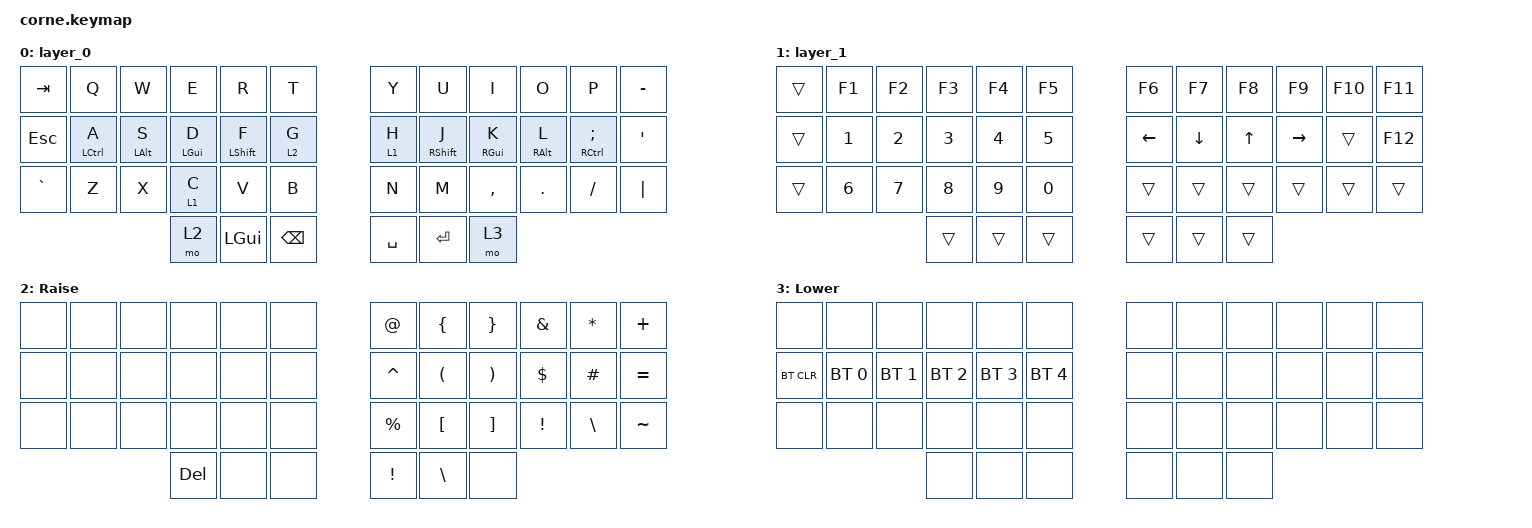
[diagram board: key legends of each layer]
/*
 * Copyright (c) 2020 The ZMK Contributors
 *
 * SPDX-License-Identifier: MIT
 */

#include <behaviors.dtsi>
#include <dt-bindings/zmk/bt.h>
#include <dt-bindings/zmk/keys.h>

/ {
    behaviors {
        HML: HML {
            compatible = "zmk,behavior-hold-tap";
            #binding-cells = <2>;
            flavor = "tap-preferred";
            tapping-term-ms = <200>;
            quick-tap-ms = <175>;
            bindings = <&kp>, <&kp>;

            hold-trigger-key-positions = <36 37 38 39 40 41 30 32 31 18 6 7 8 9 10 11 23 22 21 20 19 33 34 35>;
            hold-trigger-on-release;
        };

        HMR: HMR {
            compatible = "zmk,behavior-hold-tap";
            #binding-cells = <2>;
            flavor = "tap-preferred";
            tapping-term-ms = <200>;
            quick-tap-ms = <175>;
            bindings = <&kp>, <&kp>;

            hold-trigger-key-positions = <36 37 38 39 40 41 24 12 0 1 2 3 5 4 17 16 15 14 13 25 26 27 28 29>;
            hold-trigger-on-release;
        };
    };

    combos {
        compatible = "zmk,combos";

        combo_enter {
            bindings = <&kp ENTER>;
            key-positions = <38 39>;
        };

        combo_tab2 {
            bindings = <&kp TAB>;
            key-positions = <27 28>;
        };

        combo_escape {
            bindings = <&kp ESCAPE>;
            key-positions = <26 27>;
        };

        combo_tab4 {
            bindings = <&kp TAB>;
            key-positions = <33 32>;
        };

        combo_enter2 {
            bindings = <&kp ENTER>;
            key-positions = <28 26>;
        };

        combo_enter3 {
            bindings = <&kp ENTER>;
            key-positions = <7 8 9>;
        };

        combo_minus {
            bindings = <&kp MINUS>;
            key-positions = <39 10>;
        };

        combo_equals {
            bindings = <&kp EQUAL>;
            key-positions = <39 21>;
        };

        combo_tilde {
            bindings = <&kp TILDE>;
            key-positions = <34 39>;
        };

        combo_hash_tag {
            bindings = <&kp HASH>;
            key-positions = <39 18>;
        };

        combo_quote {
            bindings = <&kp SINGLE_QUOTE>;
            key-positions = <39 22>;
        };
    };

    keymap {
        compatible = "zmk,keymap";

        default_layer {
            // -----------------------------------------------------------------------------------------
            // |  TAB |  Q  |  W  |  E  |  R  |  T  |   |  Y  |  U   |  I  |  O  |  P  | BKSP |
            // | CTRL |  A  |  S  |  D  |  F  |  G  |   |  H  |  J   |  K  |  L  |  ;  |  '   |
            // | SHFT |  Z  |  X  |  C  |  V  |  B  |   |  N  |  M   |  ,  |  .  |  /  | ESC  |
            //                    | GUI | LWR | SPC |   | ENT | RSE  | ALT |

            display-name = "layer_0";
            bindings = <
&kp TAB     &kp Q                &kp W            &kp E            &kp R              &kp T            &kp Y      &kp U               &kp I             &kp O             &kp P                    &kp MINUS
&kp ESCAPE  &HML LEFT_CONTROL A  &HML LEFT_ALT S  &HML LEFT_GUI D  &HML LEFT_SHIFT F  &lt 2 G          &lt 1 H    &HMR RIGHT_SHIFT J  &HMR RIGHT_GUI K  &HMR RIGHT_ALT L  &HMR RIGHT_CONTROL SEMI  &kp SQT
&kp GRAVE   &kp Z                &kp X            &lt 1 C          &kp V              &kp B            &kp N      &kp M               &kp COMMA         &kp DOT           &kp FSLH                 &kp PIPE
                                                  &mo 2            &kp LEFT_GUI       &kp BACKSPACE    &kp SPACE  &kp ENTER           &mo 3
            >;
        };

        layer_1 {
            bindings = <
&trans  &kp F1        &kp F2        &kp F3        &kp F4        &kp F5          &kp F6    &kp F7    &kp F8  &kp F9     &kp F10  &kp F11
&trans  &kp NUMBER_1  &kp NUMBER_2  &kp NUMBER_3  &kp NUMBER_4  &kp NUMBER_5    &kp LEFT  &kp DOWN  &kp UP  &kp RIGHT  &trans   &kp F12
&trans  &kp NUMBER_6  &kp NUMBER_7  &kp NUMBER_8  &kp NUMBER_9  &kp NUMBER_0    &trans    &trans    &trans  &trans     &trans   &trans
                                    &trans        &trans        &trans          &trans    &trans    &trans
            >;
        };

        layer_2 {
            // -----------------------------------------------------------------------------------------
            // |  TAB |  !  |  @  |  #  |  $  |  %  |   |  ^  |  &  |  *  |  (  |  )  | BKSP |
            // | CTRL |     |     |     |     |     |   |  -  |  =  |  [  |  ]  |  \  |  `   |
            // | SHFT |     |     |     |     |     |   |  _  |  +  |  {  |  }  | "|" |  ~   |
            //                    | GUI |     | SPC |   | ENT |     | ALT |

            display-name = "Raise";
            bindings = <
&none  &none  &none  &none       &none  &none    &kp AT       &kp LEFT_BRACE        &kp RIGHT_BRACE        &kp AMPERSAND    &kp ASTERISK   &kp PLUS
&none  &none  &none  &none       &none  &none    &kp CARET    &kp LEFT_PARENTHESIS  &kp RIGHT_PARENTHESIS  &kp DOLLAR       &kp HASH       &kp EQUAL
&none  &none  &none  &none       &none  &none    &kp PERCENT  &kp LEFT_BRACKET      &kp RIGHT_BRACKET      &kp EXCLAMATION  &kp BACKSLASH  &kp TILDE
                     &kp DELETE  &none  &none    &kp EXCL     &kp BACKSLASH         &none
            >;
        };

        bluetooth {
            display-name = "Lower";
            bindings = <
&none       &none         &none         &none         &none         &none           &none  &none  &none  &none  &none  &none
&bt BT_CLR  &bt BT_SEL 0  &bt BT_SEL 1  &bt BT_SEL 2  &bt BT_SEL 3  &bt BT_SEL 4    &none  &none  &none  &none  &none  &none
&none       &none         &none         &none         &none         &none           &none  &none  &none  &none  &none  &none
                                        &none         &none         &none           &none  &none  &none
            >;
        };
    };
};
